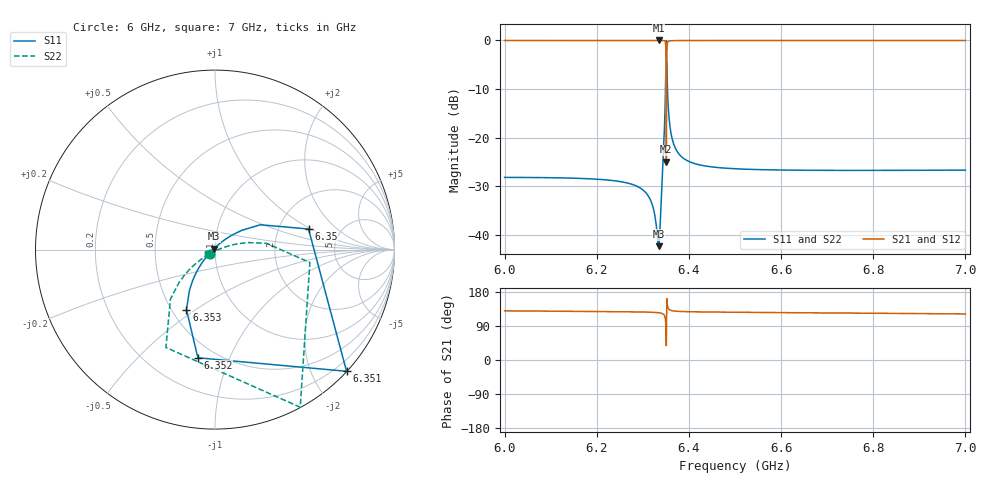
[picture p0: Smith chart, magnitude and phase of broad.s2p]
! Touchstone file exported from HFSS 2021.2.0
!  File:  D:/Jay PhD/Code/Christian Andersen lab metal/andersen-lab-qiskit-metal-7ffcf333120ae557fdd8582a17358975285c58c2/SQL HFSS/Design7_Tunable_Transmon/simulation/aedt/D7.aedt
!  Generated:  8:50:32 %x4E0B%x5348  %x5341%x4E00%x6708 22, 2026
!  Design:  R_8c10
!  Project:  D7
!  Setup:  Setup1
!  Solution:  SweepBroad
# GHz S MA R 50.000000
! Terminal data exported
! Port[1] = LumpPort_feedline_end
! Port[2] = LumpPort_feedline_start
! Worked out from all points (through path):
!   1001 points, 6 GHz to 7 GHz, reference 50 ohm
!   highest |S21| = 0.00 dB at 6.334 GHz (marker M1); lowest = -25.0 dB at 6.351 GHz (marker M2)
!   lowest |S11| = -42.3 dB at 6.334 GHz (marker M3), VSWR 1.02, Z = 49.4 + j0.479 ohm
!   |S11| at or under -10 dB: start of sweep to 6.349 GHz; 6.353 GHz to end of sweep
!   |S22| runs from -42.3 to 0.0 dB; largest |S21 - S12| = 5.1e-13
!   S11 on the Smith chart (normalised r, x): 6 GHz: 0.94, -0.05; 6.35 GHz: 2.95, +0.95; 6.351 GHz: 0.01, -2.55; 6.352 GHz: 0.40, -0.77; 6.353 GHz: 0.59, -0.46; 7 GHz: 0.92, -0.04
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6  0.03905 -141.6  0.9992 129.8  0.9992 129.8  0.03905 -138.9
! Gamma 0 0 0 0
! Port Impedance 50 0 50 0
6.167  0.03807 -143.6  0.9993 128.3  0.9993 128.3  0.03807 -139.8
6.297  0.02978 -148.6  0.9996 126.7  0.9996 126.7  0.02978 -138.0
6.318  0.02202 -154.7  0.9998 126.0  0.9998 126.0  0.02202 -133.2
6.331  0.01034 177.2  0.9999 125.1  0.9999 125.1  0.01034 -106.9
6.334  0.007657 140.7  1 124.8  1 124.8  0.007657 -71.2
6.339  0.01785 68.4  0.9998 123.7  0.9998 123.7  0.01785 -0.9
6.345  0.07403 45.7  0.9973 120.4  0.9973 120.4  0.07402 15.1
6.346  0.09666 43.0  0.9953 119.1  0.9953 119.1  0.09666 15.2
6.35  0.5336 12.4  0.8457 92.3  0.8457 92.3  0.5335 -7.8
6.351  0.9984 -42.8  0.05648 37.9  0.05648 37.9  0.9983 -61.6
6.352  0.6102 -99.0  0.7923 162.2  0.7923 162.2  0.6102 -116.7
6.353  0.3704 -115.4  0.9289 146.3  0.9289 146.3  0.3704 -132.0
6.356  0.1802 -128.1  0.9836 134.9  0.9836 134.9  0.1802 -142.1
6.357  0.1575 -129.8  0.9875 133.6  0.9875 133.6  0.1575 -143.1
6.363  0.1003 -134.7  0.995 130.2  0.995 130.2  0.1003 -144.8
6.38  0.06656 -139.1  0.9978 128.1  0.9978 128.1  0.06656 -144.7
6.419  0.05306 -141.9  0.9986 127.0  0.9986 127.0  0.05306 -144.1
6.5  0.04791 -143.9  0.9989 126.0  0.9989 126.0  0.04791 -144.1
6.667  0.04617 -146.0  0.9989 124.5  0.9989 124.5  0.04617 -145.1
6.834  0.0461 -147.7  0.9989 123.0  0.9989 123.0  0.0461 -146.3
7  0.04638 -149.2  0.9989 121.6  0.9989 121.6  0.04638 -147.6
